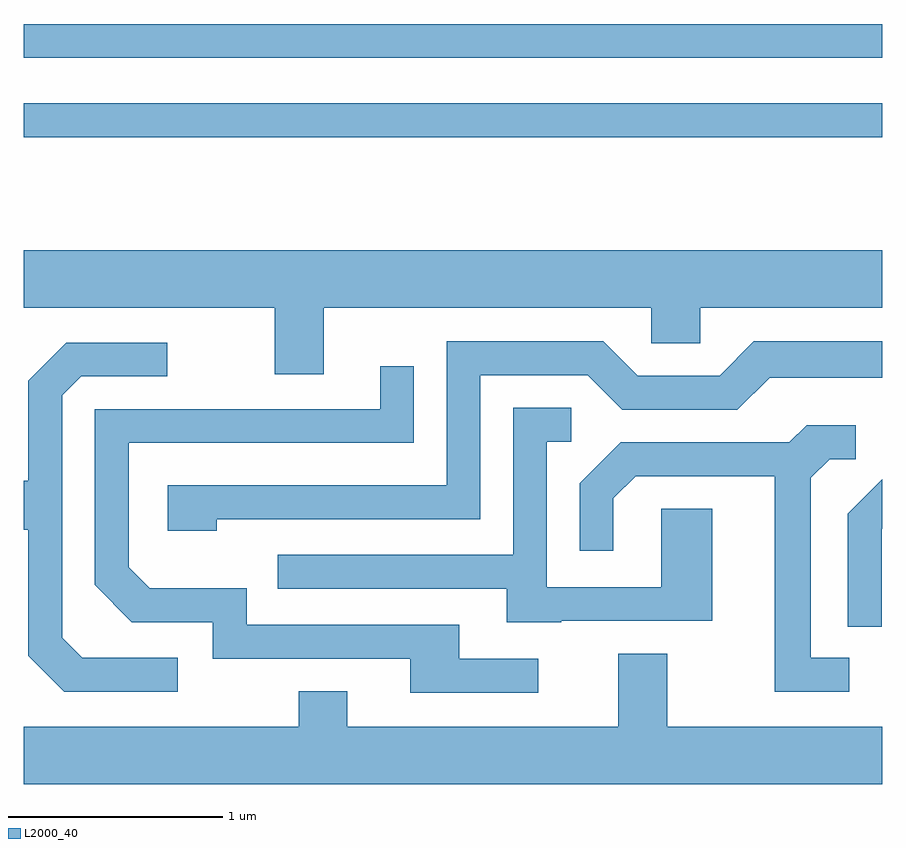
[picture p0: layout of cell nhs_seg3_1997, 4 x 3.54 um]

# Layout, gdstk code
import gdstk
lib = gdstk.Library(unit=1e-6, precision=1e-09)
def R(c, l, rs):  # rectangles x0, y0, x1, y1
    for r in rs: c.add(gdstk.rectangle(r[:2], r[2:], *l))
def P(c, l, *ps):  # polygons
    for p in ps: c.add(gdstk.Polygon(p, *l))
L2000_40 = (2000, 40)

nhs_seg3_1997 = lib.new_cell('nhs_seg3_1997')
R(nhs_seg3_1997, L2000_40, [(243.611,1168.991,247.611,1169.149), (243.611,1169.361,247.611,1169.519)])
P(nhs_seg3_1997, L2000_40, [(245.009,1168.196),(246.536,1168.196),(246.536,1168.031),(246.764,1168.031),(246.764,1168.196),(247.611,1168.196),(247.611,1168.464),(243.611,1168.464),(243.611,1168.196),(244.781,1168.196),(244.781,1167.886),(245.009,1167.886)],
  [(244.509,1167.211),(245.739,1167.211),(245.739,1167.881),(246.239,1167.881),(246.399,1167.721),(246.937,1167.721),(247.087,1167.871),(247.611,1167.871),(247.611,1168.039),(247.014,1168.039),(246.854,1167.879),(246.472,1167.879),(246.312,1168.039),(245.581,1168.039),(245.581,1167.369),(244.281,1167.369),(244.281,1167.156),(244.509,1167.156)],
  [(244.328,1166.564),(243.882,1166.564),(243.789,1166.657),(243.789,1167.789),(243.877,1167.876),(244.278,1167.876),(244.278,1168.034),(243.809,1168.034),(243.631,1167.857),(243.631,1167.389),(243.611,1167.389),(243.611,1167.161),(243.631,1167.161),(243.631,1166.574),(243.799,1166.406),(244.328,1166.406)],
  [(246.008,1166.559),(245.639,1166.559),(245.639,1166.719),(244.649,1166.719),(244.649,1166.889),(244.197,1166.889),(244.099,1166.987),(244.099,1167.566),(245.429,1167.566),(245.429,1167.923),(245.271,1167.923),(245.271,1167.724),(243.941,1167.724),(243.941,1166.904),(244.114,1166.731),(244.491,1166.731),(244.491,1166.561),(245.411,1166.561),(245.411,1166.401),(246.008,1166.401)],
  [(246.115,1166.736),(246.819,1166.736),(246.819,1167.259),(246.581,1167.259),(246.581,1166.894),(246.049,1166.894),(246.049,1167.571),(246.163,1167.571),(246.163,1167.729),(245.891,1167.729),(245.891,1167.044),(244.793,1167.044),(244.793,1166.886),(245.861,1166.886),(245.861,1166.731),(246.115,1166.731)],
  [(247.458,1166.564),(247.279,1166.564),(247.279,1167.404),(247.367,1167.491),(247.488,1167.491),(247.488,1167.649),(247.259,1167.649),(247.179,1167.569),(246.394,1167.569),(246.201,1167.377),(246.201,1167.063),(246.359,1167.063),(246.359,1167.309),(246.462,1167.411),(247.111,1167.411),(247.111,1166.406),(247.458,1166.406)],
  [(247.609,1167.164),(247.611,1167.166),(247.611,1167.397),(247.451,1167.237),(247.451,1166.708),(247.609,1166.708)],
  [(247.611,1166.244),(246.609,1166.244),(246.609,1166.584),(246.381,1166.584),(246.381,1166.244),(245.119,1166.244),(245.119,1166.409),(244.891,1166.409),(244.891,1166.244),(243.611,1166.244),(243.611,1165.976),(247.611,1165.976)])

lib.write_gds('nhs_seg3_1997.gds')
